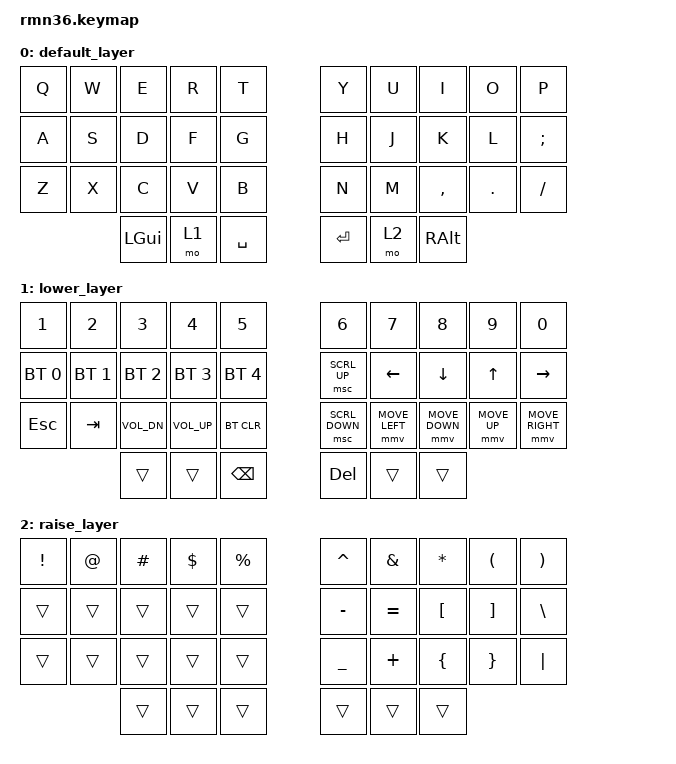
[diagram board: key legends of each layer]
/*
 * Copyright (c) 2025 The ZMK Contributors
 *
 * SPDX-License-Identifier: MIT
 */

#include <behaviors.dtsi>
#include <dt-bindings/zmk/keys.h>
#include <dt-bindings/zmk/bt.h>
#include <dt-bindings/zmk/mouse.h>

/ {
	keymap {
		compatible = "zmk,keymap";

		default_layer {
			// -----------------------------------------------------------------------------------------
			// |  Q  |  W  |  E  |  R  |  T  |  Y  |  U  |  I  |  O  |  P  |
			// |  A  |  S  |  D  |  F  |  G  |  H  |  J  |  K  |  L  | ; : |
			// |  Z  |  X  |  C  |  V  |  B  |  N  |  M  | , < | . > | / ? |
			//         | GUI | LWR | SPC | ENT | RSE | ALT |
			bindings = <
				&kp Q      &kp W      &kp E       &kp R       &kp T       &kp Y       &kp U       &kp I       &kp O       &kp P
				&kp A      &kp S      &kp D       &kp F       &kp G       &kp H       &kp J       &kp K       &kp L       &kp SEMI
				&kp Z      &kp X      &kp C       &kp V       &kp B       &kp N       &kp M       &kp COMMA   &kp DOT     &kp FSLH
				           &kp LGUI   &mo 1       &kp SPACE   &kp RET     &mo 2       &kp RALT
			>;
		};

	lower_layer {
		// -----------------------------------------------------------------------------------------
		// |  1  |  2  |  3  |  4  |  5  |  6  |  7  |  8  |  9  |  0  |
		// | BT1 | BT2 | BT3 | BT4 | BT5 | MUP | LFT | DWN |  UP | RGT |
		// | ESC | TAB | VOLD| VOLU|BTCLR|MDWN |MLFT |MDWN | MUP |MRGT |
		//         |     |     | BSPC | DEL |     |     |
		bindings = <
			&kp N1        &kp N2         &kp N3           &kp N4           &kp N5        &kp N6         &kp N7        &kp N8        &kp N9       &kp N0
			&bt BT_SEL 0  &bt BT_SEL 1   &bt BT_SEL 2     &bt BT_SEL 3     &bt BT_SEL 4  &msc SCRL_UP   &kp LEFT      &kp DOWN      &kp UP       &kp RIGHT
			&kp ESC       &kp TAB        &kp C_VOL_DN     &kp C_VOL_UP     &bt BT_CLR    &msc SCRL_DOWN &mmv MOVE_LEFT &mmv MOVE_DOWN &mmv MOVE_UP &mmv MOVE_RIGHT
			              &trans         &trans           &kp BSPC         &kp DEL       &trans         &trans
		>;
	};		raise_layer {
			// -----------------------------------------------------------------------------------------
			// |  !  |  @  |  #  |  $  |  %  |  ^  |  &  |  *  |  (  |  )  |
			// |     |     |     |     |     |  -  |  =  |  [  |  ]  |  \  |
			// |     |     |     |     |     |  _  |  +  |  {  |  }  | "|" |
			//         |     |     |     |     |     |     |
			bindings = <
				&kp EXCL   &kp AT     &kp HASH   &kp DLLR   &kp PRCNT   &kp CARET  &kp AMPS   &kp ASTRK  &kp LPAR  &kp RPAR
				&trans     &trans     &trans     &trans     &trans      &kp MINUS  &kp EQUAL  &kp LBKT   &kp RBKT  &kp BSLH
				&trans     &trans     &trans     &trans     &trans      &kp UNDER  &kp PLUS   &kp LBRC   &kp RBRC  &kp PIPE
				           &trans     &trans     &trans     &trans      &trans     &trans
			>;
		};
	};
};
